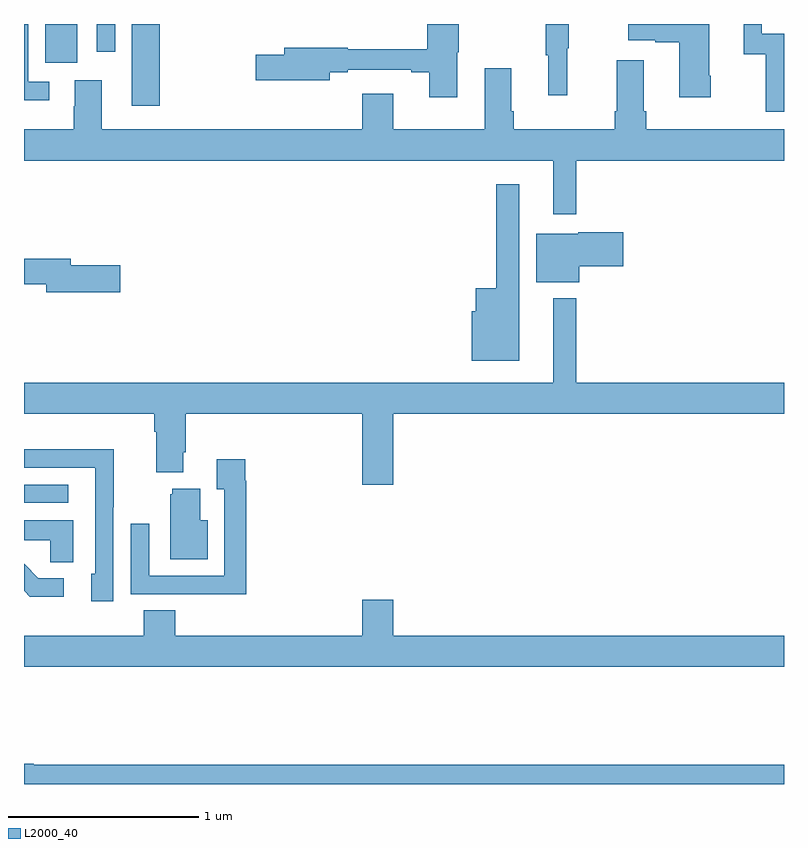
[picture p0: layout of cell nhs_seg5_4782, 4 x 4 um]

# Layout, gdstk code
import gdstk
lib = gdstk.Library(unit=1e-6, precision=1e-09)
def R(c, l, rs):  # rectangles x0, y0, x1, y1
    for r in rs: c.add(gdstk.rectangle(r[:2], r[2:], *l))
def P(c, l, *ps):  # polygons
    for p in ps: c.add(gdstk.Polygon(p, *l))
L2000_40 = (2000, 40)

nhs_seg5_4782 = lib.new_cell('nhs_seg5_4782')
R(nhs_seg5_4782, L2000_40, [(391,868.278,391.234,868.374), (391.568,870.369,391.715,870.799), (391.112,870.594,391.279,870.799), (391.383,870.654,391.479,870.799)])
P(nhs_seg5_4782, L2000_40, [(393.86,870.672),(393.868,870.672),(393.868,870.799),(393.747,870.799),(393.747,870.635),(393.758,870.635),(393.758,870.423),(393.86,870.423)],
  [(394.614,870.526),(394.606,870.526),(394.606,870.799),(394.179,870.799),(394.179,870.713),(394.322,870.713),(394.322,870.703),(394.448,870.703),(394.448,870.414),(394.614,870.414)],
  [(395,870.747),(394.884,870.747),(394.884,870.799),(394.787,870.799),(394.787,870.639),(394.905,870.639),(394.905,870.336),(395,870.336)],
  [(391.132,870.495),(391.023,870.495),(391.023,870.799),(391,870.799),(391,870.398),(391.132,870.398)],
  [(393.28,870.651),(393.288,870.651),(393.288,870.799),(393.122,870.799),(393.122,870.667),(392.704,870.667),(392.704,870.674),(392.369,870.674),(392.369,870.638),(392.22,870.638),(392.22,870.503),(392.608,870.503),(392.608,870.546),(392.704,870.546),(392.704,870.558),(393.038,870.558),(393.038,870.546),(393.134,870.546),(393.134,870.414),(393.28,870.414)],
  [(393.907,870.08),(395,870.08),(395,870.244),(394.274,870.244),(394.274,870.34),(394.261,870.34),(394.261,870.607),(394.121,870.607),(394.121,870.34),(394.109,870.34),(394.109,870.244),(393.578,870.244),(393.578,870.34),(393.565,870.34),(393.565,870.565),(393.425,870.565),(393.425,870.244),(392.944,870.244),(392.944,870.433),(392.78,870.433),(392.78,870.244),(391.408,870.244),(391.408,870.502),(391.268,870.502),(391.268,870.365),(391.261,870.365),(391.261,870.244),(391,870.244),(391,870.08),(393.785,870.08),(393.785,869.799),(393.907,869.799)],
  [(393.607,869.956),(393.486,869.956),(393.486,869.407),(393.377,869.407),(393.377,869.286),(393.356,869.286),(393.356,869.027),(393.607,869.027)],
  [(393.922,869.525),(394.153,869.525),(394.153,869.703),(393.918,869.703),(393.918,869.695),(393.695,869.695),(393.695,869.441),(393.922,869.441)],
  [(391.507,869.528),(391.246,869.528),(391.246,869.564),(391,869.564),(391,869.428),(391.118,869.428),(391.118,869.386),(391.507,869.386)],
  [(392.944,868.748),(395,868.748),(395,868.912),(393.907,868.912),(393.907,869.356),(393.785,869.356),(393.785,868.912),(391,868.912),(391,868.748),(391.685,868.748),(391.685,868.652),(391.697,868.652),(391.697,868.439),(391.837,868.439),(391.837,868.546),(391.85,868.546),(391.85,868.748),(392.78,868.748),(392.78,868.374),(392.944,868.374)],
  [(391.47,868.255),(391.473,868.255),(391.473,868.562),(391.009,868.562),(391.009,868.56),(391,868.56),(391,868.464),(391.374,868.464),(391.374,867.906),(391.355,867.906),(391.355,867.762),(391.47,867.762)],
  [(392.171,868.394),(392.164,868.394),(392.164,868.507),(392.015,868.507),(392.015,868.351),(392.055,868.351),(392.055,867.894),(391.659,867.894),(391.659,868.168),(391.563,868.168),(391.563,867.798),(391.879,867.798),(391.879,867.797),(392.171,867.797)],
  [(391.966,868.186),(391.927,868.186),(391.927,868.354),(391.781,868.354),(391.781,868.323),(391.769,868.323),(391.769,867.983),(391.966,867.983)],
  [(391.258,868.186),(391,868.186),(391,868.082),(391.137,868.082),(391.137,867.967),(391.258,867.967)],
  [(391.21,867.882),(391.075,867.882),(391,867.957),(391,867.816),(391.031,867.785),(391.21,867.785)],
  [(395,867.58),(392.944,867.58),(392.944,867.769),(392.78,867.769),(392.78,867.58),(391.796,867.58),(391.796,867.713),(391.631,867.713),(391.631,867.58),(391,867.58),(391,867.416),(395,867.416)],
  [(395,866.9),(391.05,866.9),(391.05,866.906),(391,866.906),(391,866.799),(395,866.799)])

lib.write_gds('nhs_seg5_4782.gds')
